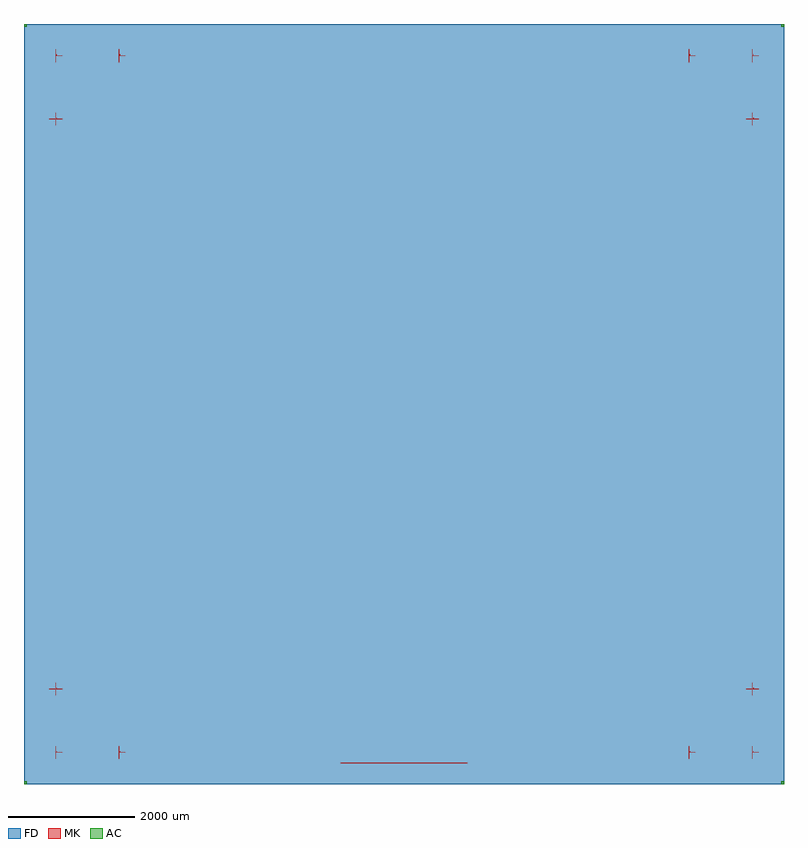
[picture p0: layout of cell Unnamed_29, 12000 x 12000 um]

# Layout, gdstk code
import gdstk
lib = gdstk.Library(unit=1e-6, precision=1e-09)
def R(c, l, rs):  # rectangles x0, y0, x1, y1
    for r in rs: c.add(gdstk.rectangle(r[:2], r[2:], *l))
def P(c, l, *ps):  # polygons
    for p in ps: c.add(gdstk.Polygon(p, *l))
FD = (0, 0)
MK = (7, 0)
AC = (9, 0)

rectangle_s1000_1000_lf_ = lib.new_cell('rectangle_S1000_1000_LF_2ee28739')
R(rectangle_s1000_1000_lf_, FD, [(0,0,1000,1000)])

unnamed_1 = lib.new_cell('Unnamed_1')
unnamed_1.add(gdstk.Reference(rectangle_s1000_1000_lf_, (0,0)))
unnamed_1.add(gdstk.Reference(rectangle_s1000_1000_lf_, (1000,0)))
unnamed_1.add(gdstk.Reference(rectangle_s1000_1000_lf_, (2000,0)))
unnamed_1.add(gdstk.Reference(rectangle_s1000_1000_lf_, (3000,0)))
unnamed_1.add(gdstk.Reference(rectangle_s1000_1000_lf_, (4000,0)))
unnamed_1.add(gdstk.Reference(rectangle_s1000_1000_lf_, (5000,0)))
unnamed_1.add(gdstk.Reference(rectangle_s1000_1000_lf_, (6000,0)))
unnamed_1.add(gdstk.Reference(rectangle_s1000_1000_lf_, (7000,0)))
unnamed_1.add(gdstk.Reference(rectangle_s1000_1000_lf_, (8000,0)))
unnamed_1.add(gdstk.Reference(rectangle_s1000_1000_lf_, (9000,0)))
unnamed_1.add(gdstk.Reference(rectangle_s1000_1000_lf_, (10000,0)))
unnamed_1.add(gdstk.Reference(rectangle_s1000_1000_lf_, (11000,0)))
unnamed_1.add(gdstk.Reference(rectangle_s1000_1000_lf_, (0,1000)))
unnamed_1.add(gdstk.Reference(rectangle_s1000_1000_lf_, (1000,1000)))
unnamed_1.add(gdstk.Reference(rectangle_s1000_1000_lf_, (2000,1000)))
unnamed_1.add(gdstk.Reference(rectangle_s1000_1000_lf_, (3000,1000)))
unnamed_1.add(gdstk.Reference(rectangle_s1000_1000_lf_, (4000,1000)))
unnamed_1.add(gdstk.Reference(rectangle_s1000_1000_lf_, (5000,1000)))
unnamed_1.add(gdstk.Reference(rectangle_s1000_1000_lf_, (6000,1000)))
unnamed_1.add(gdstk.Reference(rectangle_s1000_1000_lf_, (7000,1000)))
unnamed_1.add(gdstk.Reference(rectangle_s1000_1000_lf_, (8000,1000)))
unnamed_1.add(gdstk.Reference(rectangle_s1000_1000_lf_, (9000,1000)))
unnamed_1.add(gdstk.Reference(rectangle_s1000_1000_lf_, (10000,1000)))
unnamed_1.add(gdstk.Reference(rectangle_s1000_1000_lf_, (11000,1000)))
unnamed_1.add(gdstk.Reference(rectangle_s1000_1000_lf_, (0,2000)))
unnamed_1.add(gdstk.Reference(rectangle_s1000_1000_lf_, (1000,2000)))
unnamed_1.add(gdstk.Reference(rectangle_s1000_1000_lf_, (2000,2000)))
unnamed_1.add(gdstk.Reference(rectangle_s1000_1000_lf_, (3000,2000)))
unnamed_1.add(gdstk.Reference(rectangle_s1000_1000_lf_, (4000,2000)))
unnamed_1.add(gdstk.Reference(rectangle_s1000_1000_lf_, (5000,2000)))
unnamed_1.add(gdstk.Reference(rectangle_s1000_1000_lf_, (6000,2000)))
unnamed_1.add(gdstk.Reference(rectangle_s1000_1000_lf_, (7000,2000)))
unnamed_1.add(gdstk.Reference(rectangle_s1000_1000_lf_, (8000,2000)))
unnamed_1.add(gdstk.Reference(rectangle_s1000_1000_lf_, (9000,2000)))
unnamed_1.add(gdstk.Reference(rectangle_s1000_1000_lf_, (10000,2000)))
unnamed_1.add(gdstk.Reference(rectangle_s1000_1000_lf_, (11000,2000)))
unnamed_1.add(gdstk.Reference(rectangle_s1000_1000_lf_, (0,3000)))
unnamed_1.add(gdstk.Reference(rectangle_s1000_1000_lf_, (1000,3000)))
unnamed_1.add(gdstk.Reference(rectangle_s1000_1000_lf_, (2000,3000)))
unnamed_1.add(gdstk.Reference(rectangle_s1000_1000_lf_, (3000,3000)))
unnamed_1.add(gdstk.Reference(rectangle_s1000_1000_lf_, (4000,3000)))
unnamed_1.add(gdstk.Reference(rectangle_s1000_1000_lf_, (5000,3000)))
unnamed_1.add(gdstk.Reference(rectangle_s1000_1000_lf_, (6000,3000)))
unnamed_1.add(gdstk.Reference(rectangle_s1000_1000_lf_, (7000,3000)))
unnamed_1.add(gdstk.Reference(rectangle_s1000_1000_lf_, (8000,3000)))
unnamed_1.add(gdstk.Reference(rectangle_s1000_1000_lf_, (9000,3000)))
unnamed_1.add(gdstk.Reference(rectangle_s1000_1000_lf_, (10000,3000)))
unnamed_1.add(gdstk.Reference(rectangle_s1000_1000_lf_, (11000,3000)))
unnamed_1.add(gdstk.Reference(rectangle_s1000_1000_lf_, (0,4000)))
unnamed_1.add(gdstk.Reference(rectangle_s1000_1000_lf_, (1000,4000)))
unnamed_1.add(gdstk.Reference(rectangle_s1000_1000_lf_, (2000,4000)))
unnamed_1.add(gdstk.Reference(rectangle_s1000_1000_lf_, (3000,4000)))
unnamed_1.add(gdstk.Reference(rectangle_s1000_1000_lf_, (4000,4000)))
unnamed_1.add(gdstk.Reference(rectangle_s1000_1000_lf_, (5000,4000)))
unnamed_1.add(gdstk.Reference(rectangle_s1000_1000_lf_, (6000,4000)))
unnamed_1.add(gdstk.Reference(rectangle_s1000_1000_lf_, (7000,4000)))
unnamed_1.add(gdstk.Reference(rectangle_s1000_1000_lf_, (8000,4000)))
unnamed_1.add(gdstk.Reference(rectangle_s1000_1000_lf_, (9000,4000)))
unnamed_1.add(gdstk.Reference(rectangle_s1000_1000_lf_, (10000,4000)))
unnamed_1.add(gdstk.Reference(rectangle_s1000_1000_lf_, (11000,4000)))
unnamed_1.add(gdstk.Reference(rectangle_s1000_1000_lf_, (0,5000)))
unnamed_1.add(gdstk.Reference(rectangle_s1000_1000_lf_, (1000,5000)))
unnamed_1.add(gdstk.Reference(rectangle_s1000_1000_lf_, (2000,5000)))
unnamed_1.add(gdstk.Reference(rectangle_s1000_1000_lf_, (3000,5000)))
unnamed_1.add(gdstk.Reference(rectangle_s1000_1000_lf_, (4000,5000)))
unnamed_1.add(gdstk.Reference(rectangle_s1000_1000_lf_, (5000,5000)))
unnamed_1.add(gdstk.Reference(rectangle_s1000_1000_lf_, (6000,5000)))
unnamed_1.add(gdstk.Reference(rectangle_s1000_1000_lf_, (7000,5000)))
unnamed_1.add(gdstk.Reference(rectangle_s1000_1000_lf_, (8000,5000)))
unnamed_1.add(gdstk.Reference(rectangle_s1000_1000_lf_, (9000,5000)))
unnamed_1.add(gdstk.Reference(rectangle_s1000_1000_lf_, (10000,5000)))
unnamed_1.add(gdstk.Reference(rectangle_s1000_1000_lf_, (11000,5000)))
unnamed_1.add(gdstk.Reference(rectangle_s1000_1000_lf_, (0,6000)))
unnamed_1.add(gdstk.Reference(rectangle_s1000_1000_lf_, (1000,6000)))
unnamed_1.add(gdstk.Reference(rectangle_s1000_1000_lf_, (2000,6000)))
unnamed_1.add(gdstk.Reference(rectangle_s1000_1000_lf_, (3000,6000)))
unnamed_1.add(gdstk.Reference(rectangle_s1000_1000_lf_, (4000,6000)))
unnamed_1.add(gdstk.Reference(rectangle_s1000_1000_lf_, (5000,6000)))
unnamed_1.add(gdstk.Reference(rectangle_s1000_1000_lf_, (6000,6000)))
unnamed_1.add(gdstk.Reference(rectangle_s1000_1000_lf_, (7000,6000)))
unnamed_1.add(gdstk.Reference(rectangle_s1000_1000_lf_, (8000,6000)))
unnamed_1.add(gdstk.Reference(rectangle_s1000_1000_lf_, (9000,6000)))
unnamed_1.add(gdstk.Reference(rectangle_s1000_1000_lf_, (10000,6000)))
unnamed_1.add(gdstk.Reference(rectangle_s1000_1000_lf_, (11000,6000)))
unnamed_1.add(gdstk.Reference(rectangle_s1000_1000_lf_, (0,7000)))
unnamed_1.add(gdstk.Reference(rectangle_s1000_1000_lf_, (1000,7000)))
unnamed_1.add(gdstk.Reference(rectangle_s1000_1000_lf_, (2000,7000)))
unnamed_1.add(gdstk.Reference(rectangle_s1000_1000_lf_, (3000,7000)))
unnamed_1.add(gdstk.Reference(rectangle_s1000_1000_lf_, (4000,7000)))
unnamed_1.add(gdstk.Reference(rectangle_s1000_1000_lf_, (5000,7000)))
unnamed_1.add(gdstk.Reference(rectangle_s1000_1000_lf_, (6000,7000)))
unnamed_1.add(gdstk.Reference(rectangle_s1000_1000_lf_, (7000,7000)))
unnamed_1.add(gdstk.Reference(rectangle_s1000_1000_lf_, (8000,7000)))
unnamed_1.add(gdstk.Reference(rectangle_s1000_1000_lf_, (9000,7000)))
unnamed_1.add(gdstk.Reference(rectangle_s1000_1000_lf_, (10000,7000)))
unnamed_1.add(gdstk.Reference(rectangle_s1000_1000_lf_, (11000,7000)))
unnamed_1.add(gdstk.Reference(rectangle_s1000_1000_lf_, (0,8000)))
unnamed_1.add(gdstk.Reference(rectangle_s1000_1000_lf_, (1000,8000)))
unnamed_1.add(gdstk.Reference(rectangle_s1000_1000_lf_, (2000,8000)))
unnamed_1.add(gdstk.Reference(rectangle_s1000_1000_lf_, (3000,8000)))
unnamed_1.add(gdstk.Reference(rectangle_s1000_1000_lf_, (4000,8000)))
unnamed_1.add(gdstk.Reference(rectangle_s1000_1000_lf_, (5000,8000)))
unnamed_1.add(gdstk.Reference(rectangle_s1000_1000_lf_, (6000,8000)))
unnamed_1.add(gdstk.Reference(rectangle_s1000_1000_lf_, (7000,8000)))
unnamed_1.add(gdstk.Reference(rectangle_s1000_1000_lf_, (8000,8000)))
unnamed_1.add(gdstk.Reference(rectangle_s1000_1000_lf_, (9000,8000)))
unnamed_1.add(gdstk.Reference(rectangle_s1000_1000_lf_, (10000,8000)))
unnamed_1.add(gdstk.Reference(rectangle_s1000_1000_lf_, (11000,8000)))
unnamed_1.add(gdstk.Reference(rectangle_s1000_1000_lf_, (0,9000)))
unnamed_1.add(gdstk.Reference(rectangle_s1000_1000_lf_, (1000,9000)))
unnamed_1.add(gdstk.Reference(rectangle_s1000_1000_lf_, (2000,9000)))
unnamed_1.add(gdstk.Reference(rectangle_s1000_1000_lf_, (3000,9000)))
unnamed_1.add(gdstk.Reference(rectangle_s1000_1000_lf_, (4000,9000)))
unnamed_1.add(gdstk.Reference(rectangle_s1000_1000_lf_, (5000,9000)))
unnamed_1.add(gdstk.Reference(rectangle_s1000_1000_lf_, (6000,9000)))
unnamed_1.add(gdstk.Reference(rectangle_s1000_1000_lf_, (7000,9000)))
unnamed_1.add(gdstk.Reference(rectangle_s1000_1000_lf_, (8000,9000)))
unnamed_1.add(gdstk.Reference(rectangle_s1000_1000_lf_, (9000,9000)))
unnamed_1.add(gdstk.Reference(rectangle_s1000_1000_lf_, (10000,9000)))
unnamed_1.add(gdstk.Reference(rectangle_s1000_1000_lf_, (11000,9000)))
unnamed_1.add(gdstk.Reference(rectangle_s1000_1000_lf_, (0,10000)))
unnamed_1.add(gdstk.Reference(rectangle_s1000_1000_lf_, (1000,10000)))
unnamed_1.add(gdstk.Reference(rectangle_s1000_1000_lf_, (2000,10000)))
unnamed_1.add(gdstk.Reference(rectangle_s1000_1000_lf_, (3000,10000)))
unnamed_1.add(gdstk.Reference(rectangle_s1000_1000_lf_, (4000,10000)))
unnamed_1.add(gdstk.Reference(rectangle_s1000_1000_lf_, (5000,10000)))
unnamed_1.add(gdstk.Reference(rectangle_s1000_1000_lf_, (6000,10000)))
unnamed_1.add(gdstk.Reference(rectangle_s1000_1000_lf_, (7000,10000)))
unnamed_1.add(gdstk.Reference(rectangle_s1000_1000_lf_, (8000,10000)))
unnamed_1.add(gdstk.Reference(rectangle_s1000_1000_lf_, (9000,10000)))
unnamed_1.add(gdstk.Reference(rectangle_s1000_1000_lf_, (10000,10000)))
unnamed_1.add(gdstk.Reference(rectangle_s1000_1000_lf_, (11000,10000)))
unnamed_1.add(gdstk.Reference(rectangle_s1000_1000_lf_, (0,11000)))
unnamed_1.add(gdstk.Reference(rectangle_s1000_1000_lf_, (1000,11000)))
unnamed_1.add(gdstk.Reference(rectangle_s1000_1000_lf_, (2000,11000)))
unnamed_1.add(gdstk.Reference(rectangle_s1000_1000_lf_, (3000,11000)))
unnamed_1.add(gdstk.Reference(rectangle_s1000_1000_lf_, (4000,11000)))
unnamed_1.add(gdstk.Reference(rectangle_s1000_1000_lf_, (5000,11000)))
unnamed_1.add(gdstk.Reference(rectangle_s1000_1000_lf_, (6000,11000)))
unnamed_1.add(gdstk.Reference(rectangle_s1000_1000_lf_, (7000,11000)))
unnamed_1.add(gdstk.Reference(rectangle_s1000_1000_lf_, (8000,11000)))
unnamed_1.add(gdstk.Reference(rectangle_s1000_1000_lf_, (9000,11000)))
unnamed_1.add(gdstk.Reference(rectangle_s1000_1000_lf_, (10000,11000)))
unnamed_1.add(gdstk.Reference(rectangle_s1000_1000_lf_, (11000,11000)))

unnamed_13 = lib.new_cell('Unnamed_13')
P(unnamed_13, MK, [(-2.5,-100),(-2.5,-2.5),(-100,-2.5),(-100,2.5),(-0.5,2.5),(-0.5,0.5),(-2.5,0.5),(-2.5,-0.5),(-0.5,-0.5),(-0.5,-2.5),(0.5,-2.5),(0.5,-0.5),(2.5,-0.5),(2.5,0.5),(0.5,0.5),(0.5,2.5),(-2.5,2.5),(-2.5,100),(2.5,100),(2.5,2.5),(100,2.5),(100,-2.5),(2.5,-2.5),(2.5,-100)])

text_t1_s10_p0_0_jleft_l = lib.new_cell('text_T1_S10_P0_0_Jleft_LMK')
P(text_t1_s10_p0_0_jleft_l, MK, [(1,0),(1,2),(2,2),(2,6),(1,6),(1,8),(3,10),(4,10),(4,2),(5,2),(5,0)])

my_cross_ol200_ow5_iw1_l = lib.new_cell('my_cross_OL200_OW5_IW1_LMK_T1')
my_cross_ol200_ow5_iw1_l.add(gdstk.Reference(unnamed_13, (0,0)))
my_cross_ol200_ow5_iw1_l.add(gdstk.Reference(text_t1_s10_p0_0_jleft_l, (12,10)))

unnamed_18 = lib.new_cell('Unnamed_18')
P(unnamed_18, MK, [(-2.5,-100),(-2.5,-2.5),(-100,-2.5),(-100,2.5),(-0.5,2.5),(-0.5,0.5),(-2.5,0.5),(-2.5,-0.5),(-0.5,-0.5),(-0.5,-2.5),(0.5,-2.5),(0.5,-0.5),(2.5,-0.5),(2.5,0.5),(0.5,0.5),(0.5,2.5),(-2.5,2.5),(-2.5,100),(2.5,100),(2.5,2.5),(100,2.5),(100,-2.5),(2.5,-2.5),(2.5,-100)])

text_t2_s10_p0_0_jleft_l = lib.new_cell('text_T2_S10_P0_0_Jleft_LMK')
P(text_t2_s10_p0_0_jleft_l, MK, [(1,0),(1,2),(6,7),(6,8),(3,8),(3,7),(1,7),(1,9),(2,10),(7,10),(8,9),(8,6),(4,2),(8,2),(8,0)])

c_my_cross_ol200_ow5_iw1_l = lib.new_cell('my_cross_OL200_OW5_IW1_LMK_T2')
c_my_cross_ol200_ow5_iw1_l.add(gdstk.Reference(unnamed_18, (0,0)))
c_my_cross_ol200_ow5_iw1_l.add(gdstk.Reference(text_t2_s10_p0_0_jleft_l, (10.5,10)))

unnamed_23 = lib.new_cell('Unnamed_23')
P(unnamed_23, MK, [(-2.5,-100),(-2.5,-2.5),(-100,-2.5),(-100,2.5),(-0.5,2.5),(-0.5,0.5),(-2.5,0.5),(-2.5,-0.5),(-0.5,-0.5),(-0.5,-2.5),(0.5,-2.5),(0.5,-0.5),(2.5,-0.5),(2.5,0.5),(0.5,0.5),(0.5,2.5),(-2.5,2.5),(-2.5,100),(2.5,100),(2.5,2.5),(100,2.5),(100,-2.5),(2.5,-2.5),(2.5,-100)])

text_t3_s10_p0_0_jleft_l = lib.new_cell('text_T3_S10_P0_0_Jleft_LMK')
P(text_t3_s10_p0_0_jleft_l, MK, [(3,0),(1,2),(1,3),(3,3),(4,2),(5,2),(6,3),(5,4),(5,6),(6,7),(5,8),(4,8),(3,7),(1,7),(1,8),(3,10),(6,10),(8,8),(8,6),(7,5),(8,4),(8,2),(6,0)])

c_my_cross_ol200_ow5_iw1_l_ = lib.new_cell('my_cross_OL200_OW5_IW1_LMK_T3')
c_my_cross_ol200_ow5_iw1_l_.add(gdstk.Reference(unnamed_23, (0,0)))
c_my_cross_ol200_ow5_iw1_l_.add(gdstk.Reference(text_t3_s10_p0_0_jleft_l, (10.5,10)))

unnamed_4 = lib.new_cell('Unnamed_4')
unnamed_4.add(gdstk.Reference(my_cross_ol200_ow5_iw1_l, (-5500,-5500)))
unnamed_4.add(gdstk.Reference(my_cross_ol200_ow5_iw1_l, (5500,-5500)))
unnamed_4.add(gdstk.Reference(my_cross_ol200_ow5_iw1_l, (-5500,5500)))
unnamed_4.add(gdstk.Reference(my_cross_ol200_ow5_iw1_l, (5500,5500)))
unnamed_4.add(gdstk.Reference(c_my_cross_ol200_ow5_iw1_l, (-4500,-5500)))
unnamed_4.add(gdstk.Reference(c_my_cross_ol200_ow5_iw1_l, (4500,-5500)))
unnamed_4.add(gdstk.Reference(c_my_cross_ol200_ow5_iw1_l, (-4500,5500)))
unnamed_4.add(gdstk.Reference(c_my_cross_ol200_ow5_iw1_l, (4500,5500)))
unnamed_4.add(gdstk.Reference(c_my_cross_ol200_ow5_iw1_l_, (-5500,-4500)))
unnamed_4.add(gdstk.Reference(c_my_cross_ol200_ow5_iw1_l_, (5500,-4500)))
unnamed_4.add(gdstk.Reference(c_my_cross_ol200_ow5_iw1_l_, (-5500,4500)))
unnamed_4.add(gdstk.Reference(c_my_cross_ol200_ow5_iw1_l_, (5500,4500)))

rectangle_s40_40_lac_cf_ = lib.new_cell('rectangle_S40_40_LAC_CF_508d60a0')
R(rectangle_s40_40_lac_cf_, AC, [(0,0,40,40)])

unnamed_26 = lib.new_cell('Unnamed_26')
unnamed_26.add(gdstk.Reference(rectangle_s40_40_lac_cf_, (-6000,-6000)))
unnamed_26.add(gdstk.Reference(rectangle_s40_40_lac_cf_, (5960,-6000)))
unnamed_26.add(gdstk.Reference(rectangle_s40_40_lac_cf_, (-6000,5960)))
unnamed_26.add(gdstk.Reference(rectangle_s40_40_lac_cf_, (5960,5960)))

rectangle_s2000_5_lmk_c_ = lib.new_cell('rectangle_S2000_5_LMK_C_5aee70d3')
R(rectangle_s2000_5_lmk_c_, MK, [(0,0,2000,5)])

unnamed_29 = lib.new_cell('Unnamed_29')
unnamed_29.add(gdstk.Reference(unnamed_1, (-6000,-6000)))
unnamed_29.add(gdstk.Reference(unnamed_4, (0,0)))
unnamed_29.add(gdstk.Reference(unnamed_26, (0,0)))
unnamed_29.add(gdstk.Reference(rectangle_s2000_5_lmk_c_, (-1000,-5669.167)))

lib.write_gds('Unnamed_29.gds')
